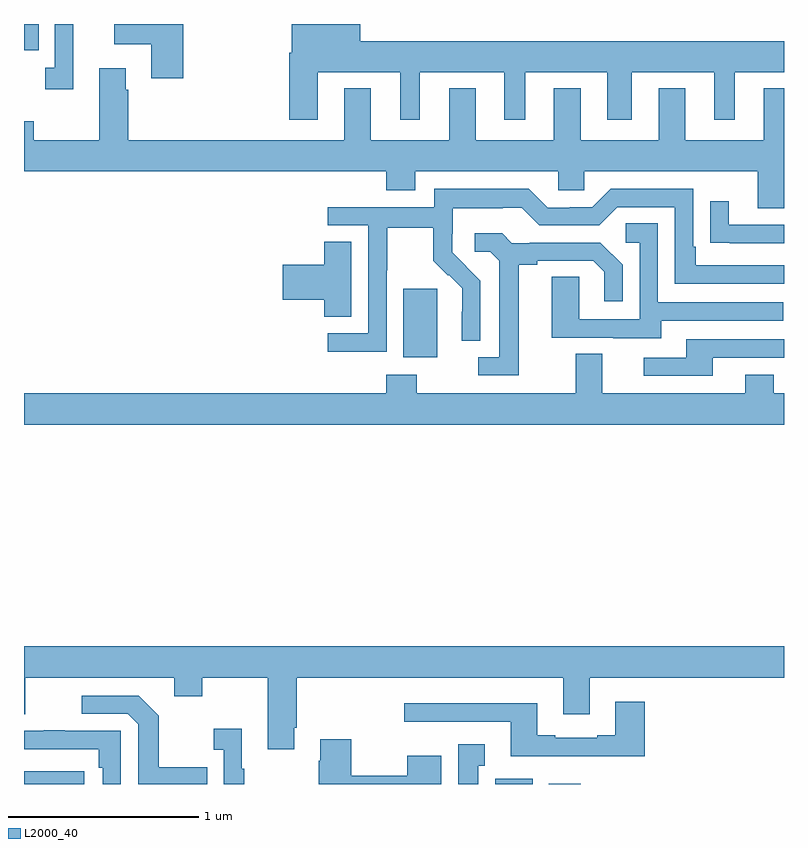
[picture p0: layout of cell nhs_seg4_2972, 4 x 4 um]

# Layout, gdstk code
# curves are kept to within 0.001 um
import gdstk
lib = gdstk.Library(unit=1e-6, precision=1e-09)
def R(c, l, rs):  # rectangles x0, y0, x1, y1
    for r in rs: c.add(gdstk.rectangle(r[:2], r[2:], *l))
def P(c, l, *ps):  # polygons
    for p in ps: c.add(gdstk.Polygon(p, *l))
L2000_40 = (2000, 40)

nhs_seg4_2972 = lib.new_cell('nhs_seg4_2972')
R(nhs_seg4_2972, L2000_40, [(267,822.9,267.316,822.966), (269.48,822.9,269.677,822.928), (269.762,822.9,269.929,822.901), (268.997,825.146,269.176,825.507), (267,826.762,267.077,826.9), (269.379,826.898,271,826.9)])
P(nhs_seg4_2972, L2000_40, [(267.839,826.9),(267.474,826.9),(267.474,826.793),(267.671,826.793),(267.671,826.614),(267.839,826.614)],
  [(267.26,826.9),(267.162,826.9),(267.162,826.67),(267.111,826.67),(267.111,826.557),(267.26,826.557)],
  [(268.546,826.646),(268.979,826.646),(268.979,826.395),(269.083,826.395),(269.083,826.646),(269.528,826.646),(269.528,826.395),(269.638,826.395),(269.638,826.646),(270.071,826.646),(270.071,826.395),(270.199,826.395),(270.199,826.646),(270.632,826.646),(270.632,826.395),(270.742,826.395),(270.742,826.646),(271,826.646),(271,826.81),(268.771,826.81),(268.771,826.9),(268.409,826.9),(268.409,826.75),(268.397,826.75),(268.397,826.395),(268.546,826.395)],
  [(271,826.561),(270.893,826.561),(270.893,826.288),(270.481,826.288),(270.481,826.561),(270.341,826.561),(270.341,826.288),(269.929,826.288),(269.929,826.561),(269.789,826.561),(269.789,826.288),(269.377,826.288),(269.377,826.561),(269.237,826.561),(269.237,826.288),(268.825,826.288),(268.825,826.561),(268.685,826.561),(268.685,826.288),(267.548,826.288),(267.548,826.553),(267.535,826.553),(267.535,826.666),(267.395,826.666),(267.395,826.288),(267.051,826.288),(267.051,826.387),(267,826.387),(267,826.124),(268.907,826.124),(268.907,826.025),(269.059,826.025),(269.059,826.124),(269.811,826.124),(269.811,826.026),(269.949,826.026),(269.949,826.124),(270.863,826.124),(270.863,825.93),(271,825.93)],
  [(268.908,825.604),(268.911,825.604),(268.911,825.828),(269.155,825.828),(269.155,825.653),(269.232,825.576),(269.235,825.579),(269.306,825.509),(269.306,825.386),(269.304,825.386),(269.304,825.232),(269.4,825.232),(269.4,825.55),(269.254,825.698),(269.254,825.795),(269.256,825.795),(269.256,825.929),(269.519,825.929),(269.519,825.933),(269.619,825.933),(269.712,825.84),(270.027,825.84),(270.123,825.936),(270.426,825.936),(270.426,825.534),(271,825.534),(271,825.63),(270.535,825.63),(270.535,825.727),(270.522,825.727),(270.522,826.032),(270.087,826.032),(269.991,825.936),(269.873,825.936),(269.873,825.933),(269.757,825.933),(269.657,826.033),(269.16,826.033),(269.16,825.936),(268.599,825.936),(268.599,825.84),(268.812,825.84),(268.812,825.273),(268.599,825.273),(268.599,825.175),(268.908,825.175)],
  [(271,825.843),(270.709,825.843),(270.709,825.967),(270.613,825.967),(270.613,825.748),(270.715,825.748),(270.715,825.747),(271,825.747)],
  [(270.355,825.339),(270.995,825.339),(270.995,825.435),(270.336,825.435),(270.336,825.851),(270.168,825.851),(270.168,825.75),(270.24,825.75),(270.24,825.345),(269.922,825.345),(269.922,825.569),(269.777,825.569),(269.777,825.249),(270.101,825.249),(270.101,825.245),(270.355,825.245)],
  [(269.605,825.632),(269.701,825.632),(269.701,825.654),(269.996,825.654),(270.053,825.597),(270.053,825.441),(270.15,825.441),(270.15,825.634),(270.034,825.75),(269.662,825.75),(269.662,825.747),(269.568,825.747),(269.516,825.799),(269.373,825.799),(269.373,825.702),(269.454,825.702),(269.501,825.655),(269.501,825.147),(269.391,825.147),(269.391,825.051),(269.605,825.051)],
  [(268.723,825.755),(268.58,825.755),(268.58,825.632),(268.362,825.632),(268.362,825.449),(268.58,825.449),(268.58,825.358),(268.723,825.358)],
  [(270.625,825.144),(271,825.144),(271,825.24),(270.485,825.24),(270.485,825.144),(270.261,825.144),(270.261,825.048),(270.625,825.048)],
  [(271,824.956),(270.945,824.956),(270.945,825.055),(270.797,825.055),(270.797,824.956),(270.043,824.956),(270.043,825.164),(269.903,825.164),(269.903,824.956),(269.067,824.956),(269.067,825.055),(268.907,825.055),(268.907,824.956),(267,824.956),(267,824.792),(271,824.792)],
  [(267,823.266),(267.007,823.266),(267.007,823.46),(267.791,823.46),(267.791,823.361),(267.939,823.361),(267.939,823.46),(268.283,823.46),(268.283,823.083),(268.423,823.083),(268.423,823.195),(268.436,823.195),(268.436,823.46),(269.837,823.46),(269.837,823.266),(269.977,823.266),(269.977,823.46),(271,823.46),(271,823.624),(267,823.624)],
  [(267.965,822.987),(267.709,822.987),(267.709,823.259),(267.603,823.365),(267.303,823.365),(267.303,823.269),(267.546,823.269),(267.6,823.215),(267.6,822.9),(267.965,822.9)],
  [(270.266,823.333),(270.113,823.333),(270.113,823.156),(270.017,823.156),(270.017,823.143),(269.797,823.143),(269.797,823.156),(269.701,823.156),(269.701,823.324),(269.001,823.324),(269.001,823.227),(269.561,823.227),(269.561,823.046),(270.266,823.046)],
  [(268.159,822.979),(268.147,822.979),(268.147,823.192),(267.999,823.192),(267.999,823.079),(268.05,823.079),(268.05,822.9),(268.159,822.9)],
  [(267.51,823.179),(267.215,823.179),(267.215,823.184),(267.103,823.184),(267.103,823.179),(267,823.179),(267,823.083),(267.394,823.083),(267.394,822.986),(267.414,822.986),(267.414,822.9),(267.51,822.9)],
  [(269.197,823.048),(269.018,823.048),(269.018,822.944),(268.722,822.944),(268.722,823.135),(268.559,823.135),(268.559,823.022),(268.552,823.022),(268.552,822.9),(269.197,822.9)],
  [(269.392,822.995),(269.425,822.995),(269.425,823.108),(269.285,823.108),(269.285,822.9),(269.392,822.9)])

lib.write_gds('nhs_seg4_2972.gds')
